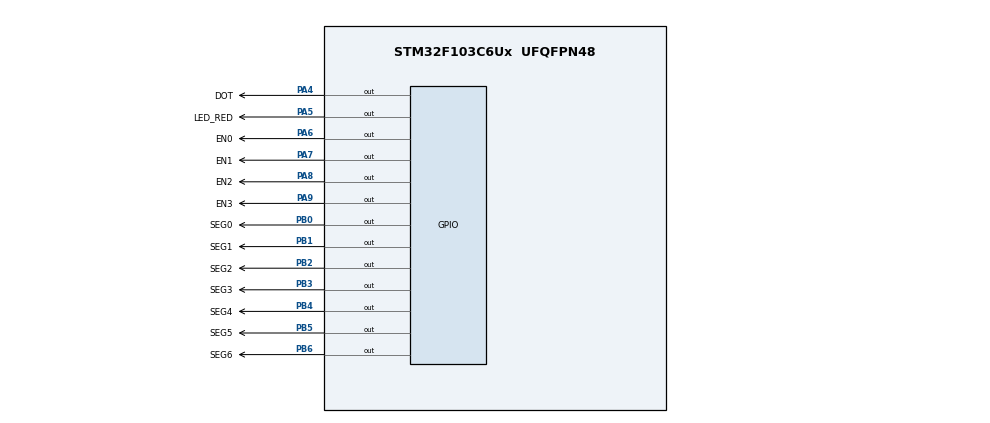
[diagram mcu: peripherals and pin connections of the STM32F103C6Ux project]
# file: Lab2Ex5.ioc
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Mcu.Family=STM32F1
Mcu.Name=STM32F103C6Ux
Mcu.Package=UFQFPN48
NVIC.PriorityGroup=NVIC_PRIORITYGROUP_4
NVIC.TIM2_IRQn=true\:0\:0\:false\:false\:true\:true\:true
PA4.GPIO_Label=DOT
PA4.Signal=GPIO_Output
PA5.GPIO_Label=LED_RED
PA5.Signal=GPIO_Output
PA6.GPIO_Label=EN0
PA6.Signal=GPIO_Output
PA7.GPIO_Label=EN1
PA7.Signal=GPIO_Output
PA8.GPIO_Label=EN2
PA8.Signal=GPIO_Output
PA9.GPIO_Label=EN3
PA9.Signal=GPIO_Output
PB0.GPIO_Label=SEG0
PB0.Signal=GPIO_Output
PB1.GPIO_Label=SEG1
PB1.Signal=GPIO_Output
PB2.GPIO_Label=SEG2
PB2.Signal=GPIO_Output
PB3.GPIO_Label=SEG3
PB3.Signal=GPIO_Output
PB4.GPIO_Label=SEG4
PB4.Signal=GPIO_Output
PB5.GPIO_Label=SEG5
PB5.Signal=GPIO_Output
PB6.GPIO_Label=SEG6
PB6.Signal=GPIO_Output
ProjectManager.HeapSize=0x200
ProjectManager.StackSize=0x400
ProjectManager.TargetToolchain=STM32CubeIDE
RCC.APB1Freq_Value=8000000
RCC.APB2Freq_Value=8000000
TIM2.Period=9
TIM2.Prescaler=7999
VP_SYS_VS_ND.Mode=No_Debug
VP_TIM2_VS_ClockSourceINT.Mode=Internal
board=custom

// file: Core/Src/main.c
/* USER CODE BEGIN Header */
/**
  ******************************************************************************
  * @file           : main.c
  * @brief          : Main program body
  ******************************************************************************
  * @attention
  *
  * <h2><center>&copy; Copyright (c) 2025 STMicroelectronics.
  * All rights reserved.</center></h2>
  *
  * This software component is licensed by ST under BSD 3-Clause license,
  * the "License"; You may not use this file except in compliance with the
  * License. You may obtain a copy of the License at:
  *                        opensource.org/licenses/BSD-3-Clause
  *
  ******************************************************************************
  */
/* USER CODE END Header */
#include "main.h"

TIM_HandleTypeDef htim2;

void SystemClock_Config(void);
static void MX_GPIO_Init(void);
static void MX_TIM2_Init(void);

/* USER CODE BEGIN 0 */

// 7SEG DISPLAY
void display7SEG(int num) {
	switch(num) {
		case 0:
			HAL_GPIO_WritePin(SEG0_GPIO_Port, SEG0_Pin, GPIO_PIN_RESET);
			HAL_GPIO_WritePin(SEG1_GPIO_Port, SEG1_Pin, GPIO_PIN_RESET);
			HAL_GPIO_WritePin(SEG2_GPIO_Port, SEG2_Pin, GPIO_PIN_RESET);
			HAL_GPIO_WritePin(SEG3_GPIO_Port, SEG3_Pin, GPIO_PIN_RESET);
			HAL_GPIO_WritePin(SEG4_GPIO_Port, SEG4_Pin, GPIO_PIN_RESET);
			HAL_GPIO_WritePin(SEG5_GPIO_Port, SEG5_Pin, GPIO_PIN_RESET);
			HAL_GPIO_WritePin(SEG6_GPIO_Port, SEG6_Pin, GPIO_PIN_SET);
			break;
		case 1:
			HAL_GPIO_WritePin(SEG0_GPIO_Port, SEG0_Pin, GPIO_PIN_SET);
			HAL_GPIO_WritePin(SEG1_GPIO_Port, SEG1_Pin, GPIO_PIN_RESET);
			HAL_GPIO_WritePin(SEG2_GPIO_Port, SEG2_Pin, GPIO_PIN_RESET);
			HAL_GPIO_WritePin(SEG3_GPIO_Port, SEG3_Pin, GPIO_PIN_SET);
			HAL_GPIO_WritePin(SEG4_GPIO_Port, SEG4_Pin, GPIO_PIN_SET);
			HAL_GPIO_WritePin(SEG5_GPIO_Port, SEG5_Pin, GPIO_PIN_SET);
			HAL_GPIO_WritePin(SEG6_GPIO_Port, SEG6_Pin, GPIO_PIN_SET);
			break;
		case 2:
			HAL_GPIO_WritePin(SEG0_GPIO_Port, SEG0_Pin, GPIO_PIN_RESET);
			HAL_GPIO_WritePin(SEG1_GPIO_Port, SEG1_Pin, GPIO_PIN_RESET);
			HAL_GPIO_WritePin(SEG2_GPIO_Port, SEG2_Pin, GPIO_PIN_SET);
			HAL_GPIO_WritePin(SEG3_GPIO_Port, SEG3_Pin, GPIO_PIN_RESET);
			HAL_GPIO_WritePin(SEG4_GPIO_Port, SEG4_Pin, GPIO_PIN_RESET);
			HAL_GPIO_WritePin(SEG5_GPIO_Port, SEG5_Pin, GPIO_PIN_SET);
			HAL_GPIO_WritePin(SEG6_GPIO_Port, SEG6_Pin, GPIO_PIN_RESET);
			break;
		case 3:
			HAL_GPIO_WritePin(SEG0_GPIO_Port, SEG0_Pin, GPIO_PIN_RESET);
			HAL_GPIO_WritePin(SEG1_GPIO_Port, SEG1_Pin, GPIO_PIN_RESET);
			HAL_GPIO_WritePin(SEG2_GPIO_Port, SEG2_Pin, GPIO_PIN_RESET);
			HAL_GPIO_WritePin(SEG3_GPIO_Port, SEG3_Pin, GPIO_PIN_RESET);
			HAL_GPIO_WritePin(SEG4_GPIO_Port, SEG4_Pin, GPIO_PIN_SET);
			HAL_GPIO_WritePin(SEG5_GPIO_Port, SEG5_Pin, GPIO_PIN_SET);
			HAL_GPIO_WritePin(SEG6_GPIO_Port, SEG6_Pin, GPIO_PIN_RESET);
			break;
		case 4:
			HAL_GPIO_WritePin(SEG0_GPIO_Port, SEG0_Pin, GPIO_PIN_SET);
			HAL_GPIO_WritePin(SEG1_GPIO_Port, SEG1_Pin, GPIO_PIN_RESET);
			HAL_GPIO_WritePin(SEG2_GPIO_Port, SEG2_Pin, GPIO_PIN_RESET);
			HAL_GPIO_WritePin(SEG3_GPIO_Port, SEG3_Pin, GPIO_PIN_SET);
			HAL_GPIO_WritePin(SEG4_GPIO_Port, SEG4_Pin, GPIO_PIN_SET);
			HAL_GPIO_WritePin(SEG5_GPIO_Port, SEG5_Pin, GPIO_PIN_RESET);
			HAL_GPIO_WritePin(SEG6_GPIO_Port, SEG6_Pin, GPIO_PIN_RESET);
			break;
		case 5:
			HAL_GPIO_WritePin(SEG0_GPIO_Port, SEG0_Pin, GPIO_PIN_RESET);
			HAL_GPIO_WritePin(SEG1_GPIO_Port, SEG1_Pin, GPIO_PIN_SET);
			HAL_GPIO_WritePin(SEG2_GPIO_Port, SEG2_Pin, GPIO_PIN_RESET);
			HAL_GPIO_WritePin(SEG3_GPIO_Port, SEG3_Pin, GPIO_PIN_RESET);
			HAL_GPIO_WritePin(SEG4_GPIO_Port, SEG4_Pin, GPIO_PIN_SET);
			HAL_GPIO_WritePin(SEG5_GPIO_Port, SEG5_Pin, GPIO_PIN_RESET);
			HAL_GPIO_WritePin(SEG6_GPIO_Port, SEG6_Pin, GPIO_PIN_RESET);
			break;
		case 6:
			HAL_GPIO_WritePin(SEG0_GPIO_Port, SEG0_Pin, GPIO_PIN_RESET);
			HAL_GPIO_WritePin(SEG1_GPIO_Port, SEG1_Pin, GPIO_PIN_SET);
			HAL_GPIO_WritePin(SEG2_GPIO_Port, SEG2_Pin, GPIO_PIN_RESET);
			HAL_GPIO_WritePin(SEG3_GPIO_Port, SEG3_Pin, GPIO_PIN_RESET);
			HAL_GPIO_WritePin(SEG4_GPIO_Port, SEG4_Pin, GPIO_PIN_RESET);
			HAL_GPIO_WritePin(SEG5_GPIO_Port, SEG5_Pin, GPIO_PIN_RESET);
			HAL_GPIO_WritePin(SEG6_GPIO_Port, SEG6_Pin, GPIO_PIN_RESET);
			break;
		case 7:
			HAL_GPIO_WritePin(SEG0_GPIO_Port, SEG0_Pin, GPIO_PIN_RESET);
			HAL_GPIO_WritePin(SEG1_GPIO_Port, SEG1_Pin, GPIO_PIN_RESET);
			HAL_GPIO_WritePin(SEG2_GPIO_Port, SEG2_Pin, GPIO_PIN_RESET);
			HAL_GPIO_WritePin(SEG3_GPIO_Port, SEG3_Pin, GPIO_PIN_SET);
			HAL_GPIO_WritePin(SEG4_GPIO_Port, SEG4_Pin, GPIO_PIN_SET);
			HAL_GPIO_WritePin(SEG5_GPIO_Port, SEG5_Pin, GPIO_PIN_SET);
			HAL_GPIO_WritePin(SEG6_GPIO_Port, SEG6_Pin, GPIO_PIN_SET);
			break;
		case 8:
			HAL_GPIO_WritePin(SEG0_GPIO_Port, SEG0_Pin, GPIO_PIN_RESET);
			HAL_GPIO_WritePin(SEG1_GPIO_Port, SEG1_Pin, GPIO_PIN_RESET);
			HAL_GPIO_WritePin(SEG2_GPIO_Port, SEG2_Pin, GPIO_PIN_RESET);
			HAL_GPIO_WritePin(SEG3_GPIO_Port, SEG3_Pin, GPIO_PIN_RESET);
			HAL_GPIO_WritePin(SEG4_GPIO_Port, SEG4_Pin, GPIO_PIN_RESET);
			HAL_GPIO_WritePin(SEG5_GPIO_Port, SEG5_Pin, GPIO_PIN_RESET);
			HAL_GPIO_WritePin(SEG6_GPIO_Port, SEG6_Pin, GPIO_PIN_RESET);
			break;
		case 9:
			HAL_GPIO_WritePin(SEG0_GPIO_Port, SEG0_Pin, GPIO_PIN_RESET);
			HAL_GPIO_WritePin(SEG1_GPIO_Port, SEG1_Pin, GPIO_PIN_RESET);
			HAL_GPIO_WritePin(SEG2_GPIO_Port, SEG2_Pin, GPIO_PIN_RESET);
			HAL_GPIO_WritePin(SEG3_GPIO_Port, SEG3_Pin, GPIO_PIN_RESET);
			HAL_GPIO_WritePin(SEG4_GPIO_Port, SEG4_Pin, GPIO_PIN_SET);
			HAL_GPIO_WritePin(SEG5_GPIO_Port, SEG5_Pin, GPIO_PIN_RESET);
			HAL_GPIO_WritePin(SEG6_GPIO_Port, SEG6_Pin, GPIO_PIN_RESET);
			break;
		default:
			HAL_GPIO_WritePin(SEG0_GPIO_Port, SEG0_Pin, GPIO_PIN_SET);
			HAL_GPIO_WritePin(SEG1_GPIO_Port, SEG1_Pin, GPIO_PIN_SET);
			HAL_GPIO_WritePin(SEG2_GPIO_Port, SEG2_Pin, GPIO_PIN_SET);
			HAL_GPIO_WritePin(SEG3_GPIO_Port, SEG3_Pin, GPIO_PIN_SET);
			HAL_GPIO_WritePin(SEG4_GPIO_Port, SEG4_Pin, GPIO_PIN_SET);
			HAL_GPIO_WritePin(SEG5_GPIO_Port, SEG5_Pin, GPIO_PIN_SET);
			HAL_GPIO_WritePin(SEG6_GPIO_Port, SEG6_Pin, GPIO_PIN_SET);
	};
};

const int MAX_LED = 4;
int index_led = 0;
int led_buffer[4] = {1, 2, 3, 4};

void update7SEG(int index)
{
	switch(index)
	{
	case 0:
		//Display the first 7SEG with led_buffer[0]
		display7SEG(led_buffer[0]);
		HAL_GPIO_WritePin(EN0_GPIO_Port, EN0_Pin, GPIO_PIN_RESET);
		HAL_Delay(250);
		HAL_GPIO_WritePin(EN0_GPIO_Port, EN0_Pin, GPIO_PIN_SET);
		break;

	case 1:
		//Display the second 7SEG with led_buffer[1]
		display7SEG(led_buffer[1]);
		HAL_GPIO_WritePin(EN1_GPIO_Port, EN1_Pin, GPIO_PIN_RESET);
		HAL_Delay(250);
		HAL_GPIO_WritePin(EN1_GPIO_Port, EN1_Pin, GPIO_PIN_SET);
		break;

	case 2:
		//Display the third 7SEG with led_buffer[2]
		display7SEG(led_buffer[2]);
		HAL_GPIO_WritePin(EN2_GPIO_Port, EN2_Pin, GPIO_PIN_RESET);
		HAL_Delay(250);
		HAL_GPIO_WritePin(EN2_GPIO_Port, EN2_Pin, GPIO_PIN_SET);
		break;

	case 3:
		//Display the forth 7SEG with led_buffer[3]
		display7SEG(led_buffer[3]);
		HAL_GPIO_WritePin(EN3_GPIO_Port, EN3_Pin, GPIO_PIN_RESET);
		HAL_Delay(250);
		HAL_GPIO_WritePin(EN3_GPIO_Port, EN3_Pin, GPIO_PIN_SET);
		break;

	default:
		break;

	};
};

// HOUR, MINUTE , SECOND
int hour = 15, minute = 8, second = 50;

void updateClockBuffer()
{
	led_buffer[0] = hour / 10;
	led_buffer[1] = hour % 10;
	led_buffer[2] = minute / 10;
	led_buffer[3] = minute % 10;
};

/* USER CODE END 0 */

int main(void)
{

  /* MCU Configuration--------------------------------------------------------*/

  /* Reset of all peripherals, Initializes the Flash interface and the Systick. */
  HAL_Init();

  /* Configure the system clock */
  SystemClock_Config();

  /* Initialize all configured peripherals */
  MX_GPIO_Init();
  MX_TIM2_Init();
  /* USER CODE BEGIN 2 */

  // TIMER INIT FUNCTION
  HAL_TIM_Base_Start_IT(&htim2);

  /* USER CODE END 2 */

  /* Infinite loop */
  while (1)
  {

    /* USER CODE BEGIN 3 */

	  if (second >= 60)
	  {
		  second = 0;
		  minute++;
	  }
	  if(minute >= 60)
	  {
		  minute = 0;
		  hour++;
	  }
	  if(hour >=24)
	  {
		  hour = 0;
	  }

	  updateClockBuffer();
	  HAL_Delay(1000);

  }
  /* USER CODE END 3 */
}

void SystemClock_Config(void)
{
  RCC_OscInitTypeDef RCC_OscInitStruct = {0};
  RCC_ClkInitTypeDef RCC_ClkInitStruct = {0};

  /** Initializes the RCC Oscillators according to the specified parameters
  * in the RCC_OscInitTypeDef structure.
  */
  RCC_OscInitStruct.OscillatorType = RCC_OSCILLATORTYPE_HSI;
  RCC_OscInitStruct.HSIState = RCC_HSI_ON;
  RCC_OscInitStruct.HSICalibrationValue = RCC_HSICALIBRATION_DEFAULT;
  RCC_OscInitStruct.PLL.PLLState = RCC_PLL_NONE;
  if (HAL_RCC_OscConfig(&RCC_OscInitStruct) != HAL_OK)
  {
    Error_Handler();
  }
  /** Initializes the CPU, AHB and APB buses clocks
  */
  RCC_ClkInitStruct.ClockType = RCC_CLOCKTYPE_HCLK|RCC_CLOCKTYPE_SYSCLK
                              |RCC_CLOCKTYPE_PCLK1|RCC_CLOCKTYPE_PCLK2;
  RCC_ClkInitStruct.SYSCLKSource = RCC_SYSCLKSOURCE_HSI;
  RCC_ClkInitStruct.AHBCLKDivider = RCC_SYSCLK_DIV1;
  RCC_ClkInitStruct.APB1CLKDivider = RCC_HCLK_DIV1;
  RCC_ClkInitStruct.APB2CLKDivider = RCC_HCLK_DIV1;

  if (HAL_RCC_ClockConfig(&RCC_ClkInitStruct, FLASH_LATENCY_0) != HAL_OK)
  {
    Error_Handler();
  }
}

static void MX_TIM2_Init(void)
{

  TIM_ClockConfigTypeDef sClockSourceConfig = {0};
  TIM_MasterConfigTypeDef sMasterConfig = {0};

  htim2.Instance = TIM2;
  htim2.Init.Prescaler = 7999;
  htim2.Init.CounterMode = TIM_COUNTERMODE_UP;
  htim2.Init.Period = 9;
  htim2.Init.ClockDivision = TIM_CLOCKDIVISION_DIV1;
  htim2.Init.AutoReloadPreload = TIM_AUTORELOAD_PRELOAD_DISABLE;
  if (HAL_TIM_Base_Init(&htim2) != HAL_OK)
  {
    Error_Handler();
  }
  sClockSourceConfig.ClockSource = TIM_CLOCKSOURCE_INTERNAL;
  if (HAL_TIM_ConfigClockSource(&htim2, &sClockSourceConfig) != HAL_OK)
  {
    Error_Handler();
  }
  sMasterConfig.MasterOutputTrigger = TIM_TRGO_RESET;
  sMasterConfig.MasterSlaveMode = TIM_MASTERSLAVEMODE_DISABLE;
  if (HAL_TIMEx_MasterConfigSynchronization(&htim2, &sMasterConfig) != HAL_OK)
  {
    Error_Handler();
  }

}

static void MX_GPIO_Init(void)
{
  GPIO_InitTypeDef GPIO_InitStruct = {0};

  /* GPIO Ports Clock Enable */
  __HAL_RCC_GPIOA_CLK_ENABLE();
  __HAL_RCC_GPIOB_CLK_ENABLE();

  /*Configure GPIO pin Output Level */
  HAL_GPIO_WritePin(GPIOA, DOT_Pin|LED_RED_Pin|EN0_Pin|EN1_Pin
                          |EN2_Pin|EN3_Pin, GPIO_PIN_RESET);

  /*Configure GPIO pin Output Level */
  HAL_GPIO_WritePin(GPIOB, SEG0_Pin|SEG1_Pin|SEG2_Pin|SEG3_Pin
                          |SEG4_Pin|SEG5_Pin|SEG6_Pin, GPIO_PIN_RESET);

  /*Configure GPIO pins : DOT_Pin LED_RED_Pin EN0_Pin EN1_Pin
                           EN2_Pin EN3_Pin */
  GPIO_InitStruct.Pin = DOT_Pin|LED_RED_Pin|EN0_Pin|EN1_Pin
                          |EN2_Pin|EN3_Pin;
  GPIO_InitStruct.Mode = GPIO_MODE_OUTPUT_PP;
  GPIO_InitStruct.Pull = GPIO_NOPULL;
  GPIO_InitStruct.Speed = GPIO_SPEED_FREQ_LOW;
  HAL_GPIO_Init(GPIOA, &GPIO_InitStruct);

  /*Configure GPIO pins : SEG0_Pin SEG1_Pin SEG2_Pin SEG3_Pin
                           SEG4_Pin SEG5_Pin SEG6_Pin */
  GPIO_InitStruct.Pin = SEG0_Pin|SEG1_Pin|SEG2_Pin|SEG3_Pin
                          |SEG4_Pin|SEG5_Pin|SEG6_Pin;
  GPIO_InitStruct.Mode = GPIO_MODE_OUTPUT_PP;
  GPIO_InitStruct.Pull = GPIO_NOPULL;
  GPIO_InitStruct.Speed = GPIO_SPEED_FREQ_LOW;
  HAL_GPIO_Init(GPIOB, &GPIO_InitStruct);

}

void Error_Handler(void)
{
  __disable_irq();
  while (1)
  {
  }
}

/************************ (C) COPYRIGHT STMicroelectronics *****END OF FILE****/
